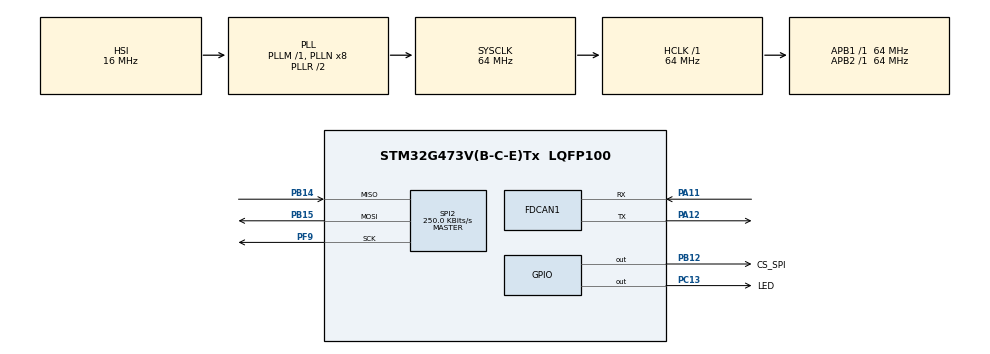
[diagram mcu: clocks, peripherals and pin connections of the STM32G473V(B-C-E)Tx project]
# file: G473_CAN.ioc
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CRC.DefaultPolynomialUse=DEFAULT_POLYNOMIAL_ENABLE
FDCAN1.AutoRetransmission=ENABLE
FDCAN1.CalculateBaudRateNominal=1000000
FDCAN1.CalculateTimeBitNominal=1000
FDCAN1.CalculateTimeQuantumNominal=62.5
FDCAN1.Mode=FDCAN_MODE_BUS_MONITORING
FDCAN1.NominalPrescaler=4
FDCAN1.NominalTimeSeg1=13
FDCAN1.StdFiltersNbr=2
FDCAN1.TransmitPause=ENABLE
Mcu.Family=STM32G4
Mcu.Name=STM32G473V(B-C-E)Tx
Mcu.Package=LQFP100
NVIC.FDCAN1_IT0_IRQn=true\:0\:0\:false\:false\:true\:true\:true\:true
NVIC.FDCAN1_IT1_IRQn=true\:0\:0\:false\:false\:true\:true\:true\:true
NVIC.PriorityGroup=NVIC_PRIORITYGROUP_4
PA11.Mode=FDCAN_Activate
PA11.Signal=FDCAN1_RX
PA12.Mode=FDCAN_Activate
PA12.Signal=FDCAN1_TX
PA13.Mode=Trace_Asynchronous_SW
PA13.Signal=SYS_JTMS-SWDIO
PA14.Mode=Trace_Asynchronous_SW
PA14.Signal=SYS_JTCK-SWCLK
PB12.GPIO_Label=CS_SPI
PB12.GPIO_Speed=GPIO_SPEED_FREQ_MEDIUM
PB12.PinState=GPIO_PIN_SET
PB12.Signal=GPIO_Output
PB14.Mode=Full_Duplex_Master
PB14.Signal=SPI2_MISO
PB15.Mode=Full_Duplex_Master
PB15.Signal=SPI2_MOSI
PB3.Mode=Trace_Asynchronous_SW
PB3.Signal=SYS_JTDO-SWO
PC13.GPIO_Label=LED
PC13.Signal=GPIO_Output
PF0-OSC_IN.Mode=HSE-External-Oscillator
PF0-OSC_IN.Signal=RCC_OSC_IN
PF1-OSC_OUT.Mode=HSE-External-Oscillator
PF1-OSC_OUT.Signal=RCC_OSC_OUT
PF9.Mode=Full_Duplex_Master
PF9.Signal=SPI2_SCK
ProjectManager.HeapSize=0x200
ProjectManager.StackSize=0x400
ProjectManager.TargetToolchain=STM32CubeIDE
RCC.ADC12Freq_Value=64000000
RCC.ADC345Freq_Value=64000000
RCC.AHBFreq_Value=64000000
RCC.APB1Freq_Value=64000000
RCC.APB1TimFreq_Value=64000000
RCC.APB2Freq_Value=64000000
RCC.APB2TimFreq_Value=64000000
RCC.CortexFreq_Value=64000000
RCC.EXTERNAL_CLOCK_VALUE=12288000
RCC.HCLKFreq_Value=64000000
RCC.HSE_VALUE=8000000
RCC.HSI48_VALUE=48000000
RCC.HSI_VALUE=16000000
RCC.LSE_VALUE=32768
RCC.SYSCLKFreq_VALUE=64000000
RCC.SYSCLKSource=RCC_SYSCLKSOURCE_PLLCLK
RCC.USBFreq_Value=64000000
RCC.VCOOutputFreq_Value=128000000
SPI2.BaudRatePrescaler=SPI_BAUDRATEPRESCALER_256
SPI2.CalculateBaudRate=250.0 KBits/s
SPI2.DataSize=SPI_DATASIZE_8BIT
SPI2.Direction=SPI_DIRECTION_2LINES
SPI2.Mode=SPI_MODE_MASTER
SPI2.VirtualType=VM_MASTER
VP_CRC_VS_CRC.Mode=CRC_Activate
VP_SYS_VS_DBSignals.Mode=DisableDeadBatterySignals
board=custom

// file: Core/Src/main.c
/* USER CODE BEGIN Header */
/**
  ******************************************************************************
  * @file           : main.c
  * @brief          : Main program body
  ******************************************************************************
  * @attention
  *
  * Copyright (c) 2024 STMicroelectronics.
  * All rights reserved.
  *
  * This software is licensed under terms that can be found in the LICENSE file
  * in the root directory of this software component.
  * If no LICENSE file comes with this software, it is provided AS-IS.
  *
  ******************************************************************************
  */
/* USER CODE END Header */
#include "main.h"

/* USER CODE BEGIN Includes */
#include <stdio.h>
#include <inttypes.h>
/* USER CODE END Includes */

CRC_HandleTypeDef hcrc;

FDCAN_HandleTypeDef hfdcan1;

SPI_HandleTypeDef hspi2;

void SystemClock_Config(void);
static void MX_GPIO_Init(void);
static void MX_FDCAN1_Init(void);
static void MX_SPI2_Init(void);
static void MX_CRC_Init(void);

/* USER CODE BEGIN 0 */

FDCAN_TxHeaderTypeDef   TxHeader;
FDCAN_RxHeaderTypeDef   RxHeader;
uint8_t TxData[12];
uint8_t RxData[12];
uint8_t RX_Data_8[8] = {0,};
uint8_t Read_Unique_ID = 0x4B;

uint8_t CRC_buff[5] = {0x01, 0x02, 0x03, 0x04, 0x05};

int indx = 0;
volatile int message_counter = 0;
uint32_t fill_level_in_main = 0;

void HAL_FDCAN_RxFifo0Callback(FDCAN_HandleTypeDef *hfdcan, uint32_t RxFifo0ITs)
{
  if((RxFifo0ITs & FDCAN_IT_RX_FIFO0_NEW_MESSAGE) != RESET)
  {
    /* Retreive Rx messages from RX FIFO0 */
    if (HAL_FDCAN_GetRxMessage(hfdcan, FDCAN_RX_FIFO0, &RxHeader, RxData) != HAL_OK)
    {
    /* Reception Error */
    Error_Handler();
    }
    message_counter++;
    uint32_t free_level = HAL_FDCAN_GetRxFifoFillLevel(hfdcan, RxFifo0ITs);
    printf("0 Free: %d  Messages: %d  Received ID: 0x%X \n", (int)free_level, message_counter, (int)RxHeader.Identifier);

    if (HAL_FDCAN_ActivateNotification(hfdcan, FDCAN_IT_RX_FIFO0_NEW_MESSAGE, 0) != HAL_OK) // Нахуя?
    {
      /* Notification Error */
      Error_Handler();
    }
  }
}

void HAL_FDCAN_RxFifo1Callback(FDCAN_HandleTypeDef *hfdcan, uint32_t RxFifo1ITs)
{
  if((RxFifo1ITs & FDCAN_IT_RX_FIFO1_NEW_MESSAGE) != RESET)
  {
    /* Retreive Rx messages from RX FIFO0 */
    if (HAL_FDCAN_GetRxMessage(hfdcan, FDCAN_RX_FIFO1, &RxHeader, RxData) != HAL_OK)
    {
    /* Reception Error */
    Error_Handler();
    }

    uint32_t fill_level = HAL_FDCAN_GetRxFifoFillLevel (hfdcan, RxFifo1ITs);
    message_counter++;
    printf("1 Fill: %d  Messages: %d  Received ID: 0x%X \n", (int)fill_level, message_counter, (int)RxHeader.Identifier);

    if (HAL_FDCAN_ActivateNotification(hfdcan, FDCAN_IT_RX_FIFO0_NEW_MESSAGE | FDCAN_IT_RX_FIFO1_NEW_MESSAGE, 0) != HAL_OK) // Нахуя?
    {
      /* Notification Error */
      Error_Handler();
    }
  }
}

int __io_putchar(int ch)
{
	ITM_SendChar(ch);
	return(ch);
}
/* USER CODE END 0 */

int main(void)
{

  /* MCU Configuration--------------------------------------------------------*/

  /* Reset of all peripherals, Initializes the Flash interface and the Systick. */
  HAL_Init();

  /* Configure the system clock */
  SystemClock_Config();

  /* Initialize all configured peripherals */
  MX_GPIO_Init();
  MX_FDCAN1_Init();
  MX_SPI2_Init();
  MX_CRC_Init();
  /* USER CODE BEGIN 2 */

  //HAL_FDCAN_ConfigGlobalFilter(&hfdcan1, FDCAN_ACCEPT_IN_RX_FIFO0, FDCAN_REJECT, FDCAN_REJECT_REMOTE, FDCAN_REJECT_REMOTE);

  if(HAL_FDCAN_Start(&hfdcan1)!= HAL_OK)
  {
	  Error_Handler();
  }

  if (HAL_FDCAN_ActivateNotification(&hfdcan1, FDCAN_IT_RX_FIFO0_NEW_MESSAGE | FDCAN_IT_RX_FIFO1_NEW_MESSAGE, 0) != HAL_OK)
  {
    /* Notification Error */
    Error_Handler();
  }

  TxHeader.Identifier = 0x11;
  TxHeader.IdType = FDCAN_STANDARD_ID;
  TxHeader.TxFrameType = FDCAN_DATA_FRAME;
  TxHeader.DataLength = FDCAN_DLC_BYTES_12;
  TxHeader.ErrorStateIndicator = FDCAN_ESI_ACTIVE;
  TxHeader.BitRateSwitch = FDCAN_BRS_OFF;
  TxHeader.FDFormat = FDCAN_FD_CAN;
  TxHeader.TxEventFifoControl = FDCAN_NO_TX_EVENTS;
  TxHeader.MessageMarker = 0;

  /* USER CODE END 2 */

  /* Infinite loop */
  while (1)
  {

    /* USER CODE BEGIN 3 */
	  message_counter = 0;
	  printf("tick \n");

	  HAL_GPIO_WritePin(CS_SPI_GPIO_Port, CS_SPI_Pin, GPIO_PIN_RESET);						// read unique ID
	  for(int x = 0; x < 6; x++){
	  HAL_SPI_Transmit(&hspi2, &Read_Unique_ID, sizeof(Read_Unique_ID), 1000);
	  }
	  HAL_SPI_Receive(&hspi2, RX_Data_8, sizeof(RX_Data_8), 1000);
	  HAL_GPIO_WritePin(CS_SPI_GPIO_Port, CS_SPI_Pin, GPIO_PIN_SET);

	  for(int i = 0; i < 8; i++){																// print unique ID
	  	printf("%d  ", RX_Data_8[i]);
	  }
	  printf("\n");

	  //printf("CRC = %" PRIx32 " \n", HAL_CRC_Calculate(&hcrc, (uint32_t *)CRC_buff, sizeof(CRC_buff)));
	  printf("CRC = %" PRIx32 " \n", HAL_CRC_Accumulate(&hcrc, (uint32_t *)CRC_buff, sizeof(CRC_buff)));

	  HAL_GPIO_TogglePin(LED_GPIO_Port, LED_Pin);
	  HAL_Delay(1000);

	  //HAL_FDCAN_GetTxFifoFreeLevel(hfdcan) "ЭТО ВРОДЕ"

//	  for (int i=0; i<12; i++)
//	  {
//		  TxData[i] = indx++;
//	  }
//
//	  if (HAL_FDCAN_AddMessageToTxFifoQ(&hfdcan1, &TxHeader, TxData)!= HAL_OK)
//	  {
//		  Error_Handler();
//	  }
	  //printf("Received ID: %" PRId32 " \n", RxHeader.Identifier);

  }
  /* USER CODE END 3 */
}

void SystemClock_Config(void)
{
  RCC_OscInitTypeDef RCC_OscInitStruct = {0};
  RCC_ClkInitTypeDef RCC_ClkInitStruct = {0};

  /** Configure the main internal regulator output voltage
  */
  HAL_PWREx_ControlVoltageScaling(PWR_REGULATOR_VOLTAGE_SCALE1);

  /** Initializes the RCC Oscillators according to the specified parameters
  * in the RCC_OscInitTypeDef structure.
  */
  RCC_OscInitStruct.OscillatorType = RCC_OSCILLATORTYPE_HSI;
  RCC_OscInitStruct.HSIState = RCC_HSI_ON;
  RCC_OscInitStruct.HSICalibrationValue = RCC_HSICALIBRATION_DEFAULT;
  RCC_OscInitStruct.PLL.PLLState = RCC_PLL_ON;
  RCC_OscInitStruct.PLL.PLLSource = RCC_PLLSOURCE_HSI;
  RCC_OscInitStruct.PLL.PLLM = RCC_PLLM_DIV1;
  RCC_OscInitStruct.PLL.PLLN = 8;
  RCC_OscInitStruct.PLL.PLLP = RCC_PLLP_DIV2;
  RCC_OscInitStruct.PLL.PLLQ = RCC_PLLQ_DIV2;
  RCC_OscInitStruct.PLL.PLLR = RCC_PLLR_DIV2;
  if (HAL_RCC_OscConfig(&RCC_OscInitStruct) != HAL_OK)
  {
    Error_Handler();
  }

  /** Initializes the CPU, AHB and APB buses clocks
  */
  RCC_ClkInitStruct.ClockType = RCC_CLOCKTYPE_HCLK|RCC_CLOCKTYPE_SYSCLK
                              |RCC_CLOCKTYPE_PCLK1|RCC_CLOCKTYPE_PCLK2;
  RCC_ClkInitStruct.SYSCLKSource = RCC_SYSCLKSOURCE_PLLCLK;
  RCC_ClkInitStruct.AHBCLKDivider = RCC_SYSCLK_DIV1;
  RCC_ClkInitStruct.APB1CLKDivider = RCC_HCLK_DIV1;
  RCC_ClkInitStruct.APB2CLKDivider = RCC_HCLK_DIV1;

  if (HAL_RCC_ClockConfig(&RCC_ClkInitStruct, FLASH_LATENCY_2) != HAL_OK)
  {
    Error_Handler();
  }
}

static void MX_CRC_Init(void)
{

  hcrc.Instance = CRC;
  hcrc.Init.DefaultPolynomialUse = DEFAULT_POLYNOMIAL_ENABLE;
  hcrc.Init.DefaultInitValueUse = DEFAULT_INIT_VALUE_ENABLE;
  hcrc.Init.InputDataInversionMode = CRC_INPUTDATA_INVERSION_NONE;
  hcrc.Init.OutputDataInversionMode = CRC_OUTPUTDATA_INVERSION_DISABLE;
  hcrc.InputDataFormat = CRC_INPUTDATA_FORMAT_BYTES;
  if (HAL_CRC_Init(&hcrc) != HAL_OK)
  {
    Error_Handler();
  }

}

static void MX_FDCAN1_Init(void)
{

  hfdcan1.Instance = FDCAN1;
  hfdcan1.Init.ClockDivider = FDCAN_CLOCK_DIV1;
  hfdcan1.Init.FrameFormat = FDCAN_FRAME_CLASSIC;
  hfdcan1.Init.Mode = FDCAN_MODE_BUS_MONITORING;
  hfdcan1.Init.AutoRetransmission = ENABLE;
  hfdcan1.Init.TransmitPause = ENABLE;
  hfdcan1.Init.ProtocolException = DISABLE;
  hfdcan1.Init.NominalPrescaler = 4;
  hfdcan1.Init.NominalSyncJumpWidth = 1;
  hfdcan1.Init.NominalTimeSeg1 = 13;
  hfdcan1.Init.NominalTimeSeg2 = 2;
  hfdcan1.Init.DataPrescaler = 1;
  hfdcan1.Init.DataSyncJumpWidth = 1;
  hfdcan1.Init.DataTimeSeg1 = 1;
  hfdcan1.Init.DataTimeSeg2 = 1;
  hfdcan1.Init.StdFiltersNbr = 2;
  hfdcan1.Init.ExtFiltersNbr = 0;
  hfdcan1.Init.TxFifoQueueMode = FDCAN_TX_FIFO_OPERATION;
  if (HAL_FDCAN_Init(&hfdcan1) != HAL_OK)
  {
    Error_Handler();
  }
  /* USER CODE BEGIN FDCAN1_Init 2 */

  FDCAN_FilterTypeDef sFilterConfig;

  sFilterConfig.IdType = FDCAN_STANDARD_ID;
  sFilterConfig.FilterIndex = 0;
  sFilterConfig.FilterType = FDCAN_FILTER_MASK;
  sFilterConfig.FilterConfig = FDCAN_FILTER_TO_RXFIFO0;
  sFilterConfig.FilterID1 = 0x0000;
  sFilterConfig.FilterID2 = 0x0100;
  if (HAL_FDCAN_ConfigFilter(&hfdcan1, &sFilterConfig) != HAL_OK)
  {
    /* Filter configuration Error */
    Error_Handler();
  }

  sFilterConfig.IdType = FDCAN_STANDARD_ID;
  sFilterConfig.FilterIndex = 1;
  sFilterConfig.FilterType = FDCAN_FILTER_MASK;
  sFilterConfig.FilterConfig = FDCAN_FILTER_TO_RXFIFO1;
  sFilterConfig.FilterID1 = 0x0700;
  sFilterConfig.FilterID2 = 0x0780;
  if (HAL_FDCAN_ConfigFilter(&hfdcan1, &sFilterConfig) != HAL_OK)
  {
    /* Filter configuration Error */
    Error_Handler();
  }

  /* USER CODE END FDCAN1_Init 2 */

}

static void MX_SPI2_Init(void)
{

  /* SPI2 parameter configuration*/
  hspi2.Instance = SPI2;
  hspi2.Init.Mode = SPI_MODE_MASTER;
  hspi2.Init.Direction = SPI_DIRECTION_2LINES;
  hspi2.Init.DataSize = SPI_DATASIZE_8BIT;
  hspi2.Init.CLKPolarity = SPI_POLARITY_LOW;
  hspi2.Init.CLKPhase = SPI_PHASE_1EDGE;
  hspi2.Init.NSS = SPI_NSS_SOFT;
  hspi2.Init.BaudRatePrescaler = SPI_BAUDRATEPRESCALER_256;
  hspi2.Init.FirstBit = SPI_FIRSTBIT_MSB;
  hspi2.Init.TIMode = SPI_TIMODE_DISABLE;
  hspi2.Init.CRCCalculation = SPI_CRCCALCULATION_DISABLE;
  hspi2.Init.CRCPolynomial = 7;
  hspi2.Init.CRCLength = SPI_CRC_LENGTH_DATASIZE;
  hspi2.Init.NSSPMode = SPI_NSS_PULSE_ENABLE;
  if (HAL_SPI_Init(&hspi2) != HAL_OK)
  {
    Error_Handler();
  }

}

static void MX_GPIO_Init(void)
{
  GPIO_InitTypeDef GPIO_InitStruct = {0};

  /* GPIO Ports Clock Enable */
  __HAL_RCC_GPIOC_CLK_ENABLE();
  __HAL_RCC_GPIOF_CLK_ENABLE();
  __HAL_RCC_GPIOB_CLK_ENABLE();
  __HAL_RCC_GPIOA_CLK_ENABLE();

  /*Configure GPIO pin Output Level */
  HAL_GPIO_WritePin(LED_GPIO_Port, LED_Pin, GPIO_PIN_RESET);

  /*Configure GPIO pin Output Level */
  HAL_GPIO_WritePin(CS_SPI_GPIO_Port, CS_SPI_Pin, GPIO_PIN_SET);

  /*Configure GPIO pin : LED_Pin */
  GPIO_InitStruct.Pin = LED_Pin;
  GPIO_InitStruct.Mode = GPIO_MODE_OUTPUT_PP;
  GPIO_InitStruct.Pull = GPIO_NOPULL;
  GPIO_InitStruct.Speed = GPIO_SPEED_FREQ_LOW;
  HAL_GPIO_Init(LED_GPIO_Port, &GPIO_InitStruct);

  /*Configure GPIO pin : CS_SPI_Pin */
  GPIO_InitStruct.Pin = CS_SPI_Pin;
  GPIO_InitStruct.Mode = GPIO_MODE_OUTPUT_PP;
  GPIO_InitStruct.Pull = GPIO_NOPULL;
  GPIO_InitStruct.Speed = GPIO_SPEED_FREQ_MEDIUM;
  HAL_GPIO_Init(CS_SPI_GPIO_Port, &GPIO_InitStruct);

}

void Error_Handler(void)
{
  __disable_irq();
  while (1)
  {
  }
}
